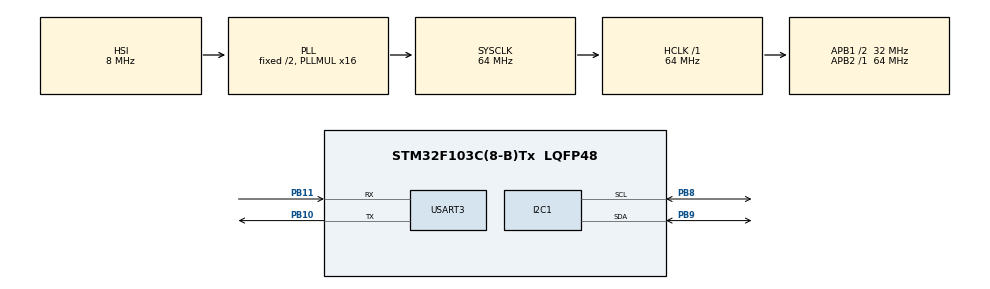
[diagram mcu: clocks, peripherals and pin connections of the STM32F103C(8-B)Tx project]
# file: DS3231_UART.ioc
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Mcu.Family=STM32F1
Mcu.Name=STM32F103C(8-B)Tx
Mcu.Package=LQFP48
NVIC.I2C1_ER_IRQn=true\:0\:0\:false\:false\:true\:true\:true\:true
NVIC.I2C1_EV_IRQn=true\:0\:0\:false\:false\:true\:true\:true\:true
NVIC.PriorityGroup=NVIC_PRIORITYGROUP_4
NVIC.USART3_IRQn=true\:0\:0\:false\:false\:true\:true\:true\:true
PA13.Mode=Serial_Wire
PA13.Signal=SYS_JTMS-SWDIO
PA14.Mode=Serial_Wire
PA14.Signal=SYS_JTCK-SWCLK
PB10.Mode=Asynchronous
PB10.Signal=USART3_TX
PB11.Mode=Asynchronous
PB11.Signal=USART3_RX
PB8.Mode=I2C
PB8.Signal=I2C1_SCL
PB9.Mode=I2C
PB9.Signal=I2C1_SDA
ProjectManager.HeapSize=0x200
ProjectManager.StackSize=0x400
ProjectManager.TargetToolchain=STM32CubeIDE
RCC.AHBFreq_Value=64000000
RCC.APB1CLKDivider=RCC_HCLK_DIV2
RCC.APB1Freq_Value=32000000
RCC.APB1TimFreq_Value=64000000
RCC.APB2Freq_Value=64000000
RCC.APB2TimFreq_Value=64000000
RCC.HCLKFreq_Value=64000000
RCC.PLLMUL=RCC_PLL_MUL16
RCC.SYSCLKFreq_VALUE=64000000
RCC.SYSCLKSource=RCC_SYSCLKSOURCE_PLLCLK
RCC.USBFreq_Value=64000000
USART3.VirtualMode=VM_ASYNC
board=custom

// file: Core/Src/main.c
/* USER CODE BEGIN Header */
/**
  ******************************************************************************
  * @file           : main.c
  * @brief          : Main program body
  ******************************************************************************
  * @attention
  *
  * Copyright (c) 2023 STMicroelectronics.
  * All rights reserved.
  *
  * This software is licensed under terms that can be found in the LICENSE file
  * in the root directory of this software component.
  * If no LICENSE file comes with this software, it is provided AS-IS.
  *
  ******************************************************************************
  */
/* USER CODE END Header */
#include "main.h"

/* USER CODE BEGIN Includes */

#include "string.h"
#include "stdio.h"

/* USER CODE END Includes */

/* USER CODE BEGIN PTD */

typedef struct{
	uint8_t sec;
	uint8_t min;
	uint8_t hour;
	uint8_t day;
	uint8_t date;
	uint8_t month;
	uint8_t year;
}_DS3231;

_DS3231 ds3231;

/* USER CODE END PTD */

/* USER CODE BEGIN PD */
#define DS3231_ADDRESS (0x68<<1)

#define CHECKFLAG(FLAG, variable)  (variable & FLAG ? 1 : 0)
#define SETFLAG(FLAG, variable)    (variable |= (FLAG))
#define CLEARFLAG(FLAG, variable)  (variable &= ~(FLAG))

#define FLAG_COMPLETE_UART (1<<0)
#define FLAG_SET_TIME 	   (1<<1)
#define FLAG_GET_TIME	   (1<<2)

/* USER CODE END PD */

I2C_HandleTypeDef hi2c1;

UART_HandleTypeDef huart3;

/* USER CODE BEGIN PV */

uint8_t flag = 0;

uint8_t sec = 0, min = 0, hour = 0, day = 0, date = 0, month = 0, year = 0;

char sRx[1];
char *logRxData[100] = {0};
char sTx[100] = {0};

/* USER CODE END PV */

void SystemClock_Config(void);
static void MX_GPIO_Init(void);
static void MX_I2C1_Init(void);
static void MX_USART3_UART_Init(void);

/* USER CODE BEGIN 0 */
uint8_t B2D(uint8_t num){
	return ((num/10)*16+(num%10));
}

uint8_t D2B(uint8_t num){
	return ((num/16)*10+(num%16));
}

void HAL_UART_RxCpltCallback(UART_HandleTypeDef *huart)
{
  if(huart->Instance == USART3){
	  HAL_UART_Receive_IT(&huart3, (uint8_t*)sRx, 1);
	  if(!strcmp((char*)sRx,"\n")){
		  SETFLAG(FLAG_COMPLETE_UART,flag);
		  sRx[0] = 0;
	  }else
		  strcat((char *)logRxData,(char *)sRx);
  }
}

void DS3231_SetTime(uint8_t sec, uint8_t min, uint8_t hour, uint8_t day, uint8_t date, uint8_t month, uint8_t year){
	uint8_t rtcData[8] = {0};

	rtcData[0] = 0x00;
	rtcData[1] = D2B(sec);
	rtcData[2] = D2B(min);
	rtcData[3] = D2B(hour);
	rtcData[4] = D2B(day);
	rtcData[5] = D2B(date);
	rtcData[6] = D2B(month);
	rtcData[7] = D2B(year);

	HAL_I2C_Master_Transmit(&hi2c1, DS3231_ADDRESS, rtcData, 8, HAL_MAX_DELAY);
}

void DS3231_GetTime(){
	uint8_t rtcData[7];
	HAL_I2C_Master_Transmit(&hi2c1, DS3231_ADDRESS, 0x00, 1, HAL_MAX_DELAY);
	HAL_I2C_Master_Receive(&hi2c1, DS3231_ADDRESS, rtcData, 7, HAL_MAX_DELAY);

	ds3231.sec   = B2D(rtcData[0]);
	ds3231.min   = B2D(rtcData[1]);
	ds3231.hour  = B2D(rtcData[2]);
	ds3231.day   = B2D(rtcData[3]);
	ds3231.date  = B2D(rtcData[4]);
	ds3231.month = B2D(rtcData[5]);
	ds3231.year  = B2D(rtcData[6]);
}

void XuLyDuLieuTuUart(){
	char dayofweek[10] = {0};

	if(strstr(logRxData, "setsime")){
		sscanf(logRxData, "settime %hhu:%hhu:%hhu %hhu %hhu/%hhu/%hhu", &hour, &min, &sec, &day, &date, &month, &year);

		DS3231_SetTime(sec, min, hour, day, date, month, year);
		memset(logRxData,0,strlen(logRxData));
	}
	if(strstr(logRxData, "getgime")){
		DS3231_GetTime();
		switch(ds3231.day){
		case 1:
			strcpy(dayofweek, "Sun");
			break;
		case 2:
			strcpy(dayofweek, "Mon");
			break;
		case 3:
			strcpy(dayofweek, "Tue");
			break;
		case 4:
			strcpy(dayofweek, "Wed");
			break;
		case 5:
			strcpy(dayofweek, "Thu");
			break;
		case 6:
			strcpy(dayofweek, "Fri");
			break;
		case 7:
			strcpy(dayofweek, "Sat");
			break;
		}
		sprintf(sTx,"%u:%u:%u %s %u/%u/20%u\n",ds3231.hour, ds3231.min, ds3231.sec, dayofweek, ds3231.date, ds3231.month, ds3231.year);
		HAL_UART_Transmit(&huart3, (uint8_t *)sTx, strlen(sTx), HAL_MAX_DELAY);
		memset(sTx,0,strlen(sTx));
		memset(logRxData,0,strlen(logRxData));
	}
}
/* USER CODE END 0 */

int main(void)
{

  /* MCU Configuration--------------------------------------------------------*/

  /* Reset of all peripherals, Initializes the Flash interface and the Systick. */
  HAL_Init();

  /* Configure the system clock */
  SystemClock_Config();

  /* Initialize all configured peripherals */
  MX_GPIO_Init();
  MX_I2C1_Init();
  MX_USART3_UART_Init();
  /* USER CODE BEGIN 2 */

  HAL_UART_Receive_IT(&huart3, (uint8_t*)sRx, 1);

  /* USER CODE END 2 */

  /* Infinite loop */
  /* USER CODE BEGIN WHILE */
  while (1)
  {
	  if(CHECKFLAG(FLAG_COMPLETE_UART,flag)){

		  XuLyDuLieuTuUart();
		  CLEARFLAG(FLAG_COMPLETE_UART,flag);
	  }
    /* USER CODE END WHILE */

  }
}

void SystemClock_Config(void)
{
  RCC_OscInitTypeDef RCC_OscInitStruct = {0};
  RCC_ClkInitTypeDef RCC_ClkInitStruct = {0};

  /** Initializes the RCC Oscillators according to the specified parameters
  * in the RCC_OscInitTypeDef structure.
  */
  RCC_OscInitStruct.OscillatorType = RCC_OSCILLATORTYPE_HSI;
  RCC_OscInitStruct.HSIState = RCC_HSI_ON;
  RCC_OscInitStruct.HSICalibrationValue = RCC_HSICALIBRATION_DEFAULT;
  RCC_OscInitStruct.PLL.PLLState = RCC_PLL_ON;
  RCC_OscInitStruct.PLL.PLLSource = RCC_PLLSOURCE_HSI_DIV2;
  RCC_OscInitStruct.PLL.PLLMUL = RCC_PLL_MUL16;
  if (HAL_RCC_OscConfig(&RCC_OscInitStruct) != HAL_OK)
  {
    Error_Handler();
  }

  /** Initializes the CPU, AHB and APB buses clocks
  */
  RCC_ClkInitStruct.ClockType = RCC_CLOCKTYPE_HCLK|RCC_CLOCKTYPE_SYSCLK
                              |RCC_CLOCKTYPE_PCLK1|RCC_CLOCKTYPE_PCLK2;
  RCC_ClkInitStruct.SYSCLKSource = RCC_SYSCLKSOURCE_PLLCLK;
  RCC_ClkInitStruct.AHBCLKDivider = RCC_SYSCLK_DIV1;
  RCC_ClkInitStruct.APB1CLKDivider = RCC_HCLK_DIV2;
  RCC_ClkInitStruct.APB2CLKDivider = RCC_HCLK_DIV1;

  if (HAL_RCC_ClockConfig(&RCC_ClkInitStruct, FLASH_LATENCY_2) != HAL_OK)
  {
    Error_Handler();
  }
}

static void MX_I2C1_Init(void)
{

  hi2c1.Instance = I2C1;
  hi2c1.Init.ClockSpeed = 100000;
  hi2c1.Init.DutyCycle = I2C_DUTYCYCLE_2;
  hi2c1.Init.OwnAddress1 = 0;
  hi2c1.Init.AddressingMode = I2C_ADDRESSINGMODE_7BIT;
  hi2c1.Init.DualAddressMode = I2C_DUALADDRESS_DISABLE;
  hi2c1.Init.OwnAddress2 = 0;
  hi2c1.Init.GeneralCallMode = I2C_GENERALCALL_DISABLE;
  hi2c1.Init.NoStretchMode = I2C_NOSTRETCH_DISABLE;
  if (HAL_I2C_Init(&hi2c1) != HAL_OK)
  {
    Error_Handler();
  }

}

static void MX_USART3_UART_Init(void)
{

  huart3.Instance = USART3;
  huart3.Init.BaudRate = 115200;
  huart3.Init.WordLength = UART_WORDLENGTH_8B;
  huart3.Init.StopBits = UART_STOPBITS_1;
  huart3.Init.Parity = UART_PARITY_NONE;
  huart3.Init.Mode = UART_MODE_TX_RX;
  huart3.Init.HwFlowCtl = UART_HWCONTROL_NONE;
  huart3.Init.OverSampling = UART_OVERSAMPLING_16;
  if (HAL_UART_Init(&huart3) != HAL_OK)
  {
    Error_Handler();
  }

}

static void MX_GPIO_Init(void)
{

  /* GPIO Ports Clock Enable */
  __HAL_RCC_GPIOB_CLK_ENABLE();
  __HAL_RCC_GPIOA_CLK_ENABLE();

}

void Error_Handler(void)
{
  __disable_irq();
  while (1)
  {
  }
}
